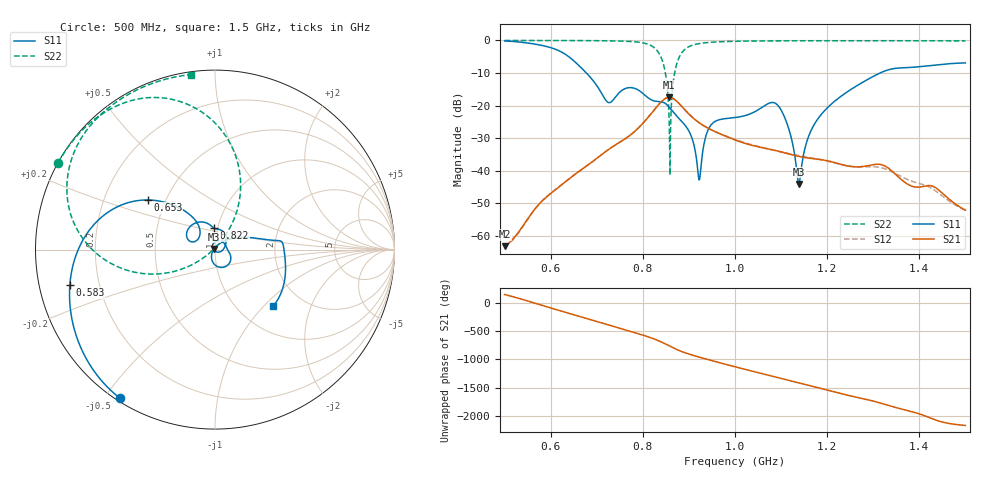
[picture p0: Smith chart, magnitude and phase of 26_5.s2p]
! TOUCHSTONE file generated by CST MICROWAVE STUDIO
! Date and time: Fri Oct  2 19:14:40 2020
! Project name: Scenario_1_Free_Space_out_of_line.cst
! Parameters = {Lambda=346.42; Step_1=17.321; dy1=-85.885; dx1=866; L_HA=400; MT=2.54; Rad_Dielectric=30; Rad_Lower=7.3; Rad_Upper=30; a_HA=580; a_WG=246; b_HA=500; b_WG=121; c_HA=0; c_WG=187; d_feed=85; h_feed=15; h_lower=18; h_upper=40}
! Header version: 2018
! Port assignment regex: !\s*Touchstone port\s*([0-9]+)\s*=\s*(CST MWS port|CST DS port)\s*([0-9]+|Zmin|Zmax)\s*\(\"(.*)\"\)(\s*mode\s*([0-9]+))?.*
! Touchstone port assignment:
! Touchstone port 1 = CST MWS port 1 ("")
! Touchstone port 2 = CST MWS port 2 ("")
# GHz S DB R 50
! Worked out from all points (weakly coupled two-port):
!   1003 points, 500 MHz to 1.5 GHz, reference 50 ohm
!   highest |S21| = -17.46 dB at 857 MHz (marker M1); lowest = -63.1 dB at 500 MHz (marker M2)
!   lowest |S11| = -44.0 dB at 1.139 GHz (marker M3), VSWR 1.01, Z = 49.5 + j0.411 ohm
!   |S11| at or under -10 dB: 677.5 MHz to 1.315 GHz (637.2 MHz wide, 64 % of centre)
!   |S22| runs from -41.3 to 0.0 dB; largest |S21 - S12| = 0.0018
!   S11 on the Smith chart (normalised r, x): 500 MHz: 0.01, -0.55; 583 MHz: 0.09, -0.12; 653 MHz: 0.40, +0.28; 822 MHz: 0.96, +0.23; 1.5 GHz: 1.43, -1.13
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0.5  -0.15 -122.5  -63.12 143.4  -63.12 143.4  -0.01 151.1
0.583  -1.60 -166.4  -49.05 -52.2  -48.99 -52.6  -0.02 145.4
0.653  -6.62 143.7  -41.03 140.5  -41.05 140.6  -0.04 139.6
0.667  -8.50 136.0  -39.61 106.9  -39.62 106.9  -0.04 138.3
0.725  -19.03 142.6  -33.51 -30.9  -33.50 -30.8  -0.12 131.5
0.771  -14.47 139.8  -29.23 -141.6  -29.25 -141.7  -0.31 122.8
0.822  -18.44 92.4  -21.77 88.0  -21.72 88.0  -1.93 98.3
0.834  -18.74 83.1  -19.69 48.8  -19.69 48.8  -3.70 85.9
0.848  -19.25 63.3  -17.88 -3.5  -17.88 -3.5  -9.33 65.7
0.857  -20.45 48.8  -17.46 -40.1  -17.45 -40.2  -24.30 54.1
0.878  -23.89 24.3  -19.27 -120.9  -19.27 -120.8  -5.44 -168.9
0.905  -29.35 -17.8  -23.26 160.9  -23.25 160.9  -1.59 165.7
0.922  -42.80 -127.1  -25.23 120.0  -25.22 120.0  -0.97 157.3
0.946  -26.31 80.2  -27.25 66.0  -27.24 66.1  -0.58 149.9
1  -23.66 10.9  -30.53 -50.6  -30.34 -50.1  -0.27 140.2
1.091  -19.63 -72.1  -33.88 120.8  -33.89 120.8  -0.13 130.5
1.117  -27.26 -117.0  -34.85 67.0  -34.70 67.0  -0.11 128.2
1.139  -44.02 138.8  -35.60 23.0  -35.31 22.4  -0.10 126.4
1.167  -27.08 51.8  -36.23 -33.1  -36.01 -33.9  -0.10 124.1
1.225  -17.67 30.2  -37.81 -155.4  -37.94 -151.0  -0.09 119.7
1.334  -8.97 8.1  -39.30 -15.6  -39.86 -17.0  -0.09 111.4
1.5  -6.89 -44.1  -52.08 -5.4  -52.12 -6.0  -0.14 97.9
